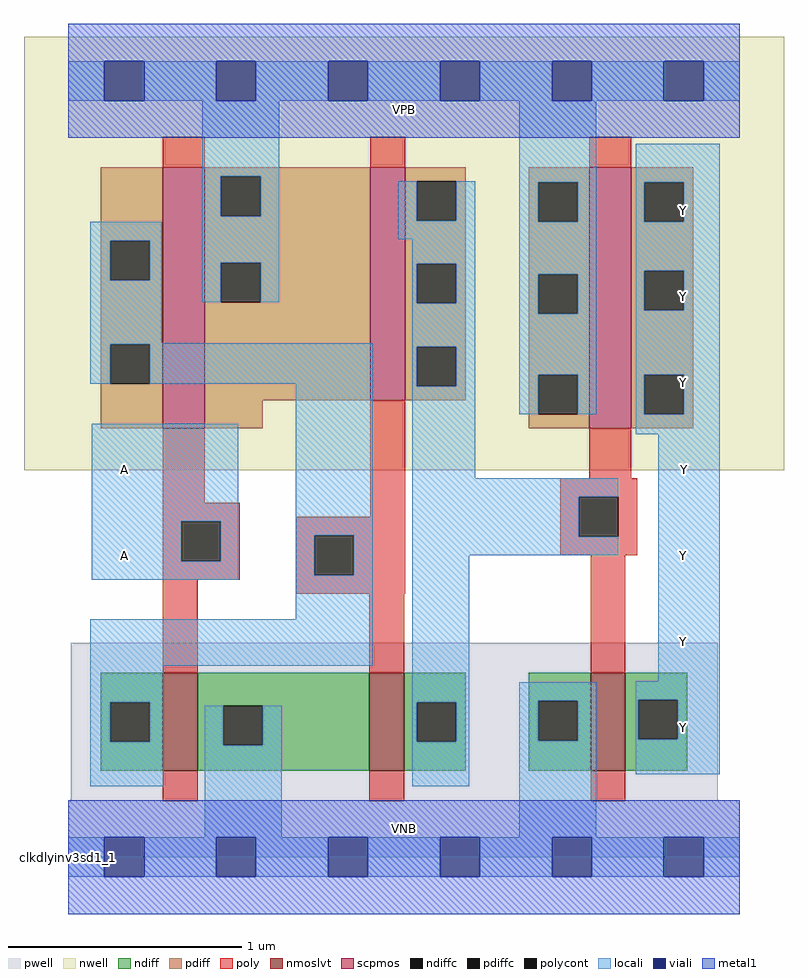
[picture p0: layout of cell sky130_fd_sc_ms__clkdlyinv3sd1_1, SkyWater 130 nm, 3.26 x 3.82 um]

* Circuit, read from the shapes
.subckt sky130_fd_sc_ms__clkdlyinv3sd1_1 A VGND VNB VPB VPWR Y
XM1 VGND A n1 VNB sky130_fd_pr__nfet_01v8_lvt w=0.42 l=0.15
XM2 n2 n1 VGND VNB sky130_fd_pr__nfet_01v8_lvt w=0.42 l=0.15
XM3 Y n2 VGND VNB sky130_fd_pr__nfet_01v8_lvt w=0.42 l=0.15
XM4 VPWR A n1 VPB sky130_fd_pr__pfet_01v8 w=1.12 l=0.18
XM5 n2 n1 VPWR VPB sky130_fd_pr__pfet_01v8 w=1 l=0.15
XM6 Y n2 VPWR VPB sky130_fd_pr__pfet_01v8 w=1.12 l=0.18
.ends

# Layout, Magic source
magic
tech sky130A
magscale 1 2
<< nwell >>
rect -38 332 614 704
<< pwell >>
rect 2 49 557 184
rect 0 0 576 49
<< scpmos >>
rect 81 368 117 592
rect 259 392 289 592
rect 447 368 483 592
<< nmoslvt >>
rect 81 74 111 158
rect 258 74 288 158
rect 448 74 478 158
<< ndiff >>
rect 28 133 81 158
rect 28 99 36 133
rect 70 99 81 133
rect 28 74 81 99
rect 111 130 258 158
rect 111 96 133 130
rect 167 96 258 130
rect 111 74 258 96
rect 288 133 341 158
rect 288 99 299 133
rect 333 99 341 133
rect 288 74 341 99
rect 395 134 448 158
rect 395 100 403 134
rect 437 100 448 134
rect 395 74 448 100
rect 478 135 531 158
rect 478 101 489 135
rect 523 101 531 135
rect 478 74 531 101
<< pdiff >>
rect 28 529 81 592
rect 28 495 36 529
rect 70 495 81 529
rect 28 440 81 495
rect 28 406 36 440
rect 70 406 81 440
rect 28 368 81 406
rect 117 584 259 592
rect 117 550 131 584
rect 165 550 259 584
rect 117 510 259 550
rect 117 476 131 510
rect 165 476 259 510
rect 117 392 259 476
rect 289 580 341 592
rect 289 546 299 580
rect 333 546 341 580
rect 289 509 341 546
rect 289 475 299 509
rect 333 475 341 509
rect 289 438 341 475
rect 289 404 299 438
rect 333 404 341 438
rect 289 392 341 404
rect 395 579 447 592
rect 395 545 403 579
rect 437 545 447 579
rect 395 500 447 545
rect 395 466 403 500
rect 437 466 447 500
rect 395 414 447 466
rect 117 368 167 392
rect 395 380 403 414
rect 437 380 447 414
rect 395 368 447 380
rect 483 579 536 592
rect 483 545 494 579
rect 528 545 536 579
rect 483 503 536 545
rect 483 469 494 503
rect 528 469 536 503
rect 483 414 536 469
rect 483 380 494 414
rect 528 380 536 414
rect 483 368 536 380
<< ndiffc >>
rect 36 99 70 133
rect 133 96 167 130
rect 299 99 333 133
rect 403 100 437 134
rect 489 101 523 135
<< pdiffc >>
rect 36 495 70 529
rect 36 406 70 440
rect 131 550 165 584
rect 131 476 165 510
rect 299 546 333 580
rect 299 475 333 509
rect 299 404 333 438
rect 403 545 437 579
rect 403 466 437 500
rect 403 380 437 414
rect 494 545 528 579
rect 494 469 528 503
rect 494 380 528 414
<< poly >>
rect 81 592 117 618
rect 259 592 289 618
rect 447 592 483 618
rect 81 304 117 368
rect 81 288 147 304
rect 259 292 289 392
rect 447 325 483 368
rect 81 254 97 288
rect 131 254 147 288
rect 81 238 147 254
rect 195 276 289 292
rect 195 242 211 276
rect 245 242 289 276
rect 422 309 488 325
rect 422 275 438 309
rect 472 275 488 309
rect 422 259 488 275
rect 81 158 111 238
rect 195 226 289 242
rect 258 158 288 226
rect 448 158 478 259
rect 81 48 111 74
rect 258 48 288 74
rect 448 48 478 74
<< polycont >>
rect 97 254 131 288
rect 211 242 245 276
rect 438 275 472 309
<< locali >>
rect 0 649 31 683
rect 65 649 127 683
rect 161 649 223 683
rect 257 649 319 683
rect 353 649 415 683
rect 449 649 511 683
rect 545 649 576 683
rect 115 584 181 649
rect 115 550 131 584
rect 165 550 181 584
rect 19 529 80 545
rect 19 495 36 529
rect 70 495 80 529
rect 19 441 80 495
rect 115 510 181 550
rect 283 546 299 580
rect 333 546 349 580
rect 283 530 349 546
rect 115 476 131 510
rect 165 476 181 510
rect 295 509 349 530
rect 295 475 299 509
rect 333 475 349 509
rect 19 440 261 441
rect 19 406 36 440
rect 70 406 261 440
rect 20 288 146 372
rect 20 254 97 288
rect 131 254 146 288
rect 20 238 146 254
rect 195 276 261 406
rect 195 242 211 276
rect 245 242 261 276
rect 195 204 261 242
rect 19 164 261 204
rect 295 438 349 475
rect 295 404 299 438
rect 333 404 349 438
rect 295 325 349 404
rect 387 579 453 649
rect 387 545 403 579
rect 437 545 453 579
rect 387 500 453 545
rect 387 466 403 500
rect 437 466 453 500
rect 387 414 453 466
rect 387 380 403 414
rect 437 380 453 414
rect 487 579 559 612
rect 487 545 494 579
rect 528 545 559 579
rect 487 503 559 545
rect 487 469 494 503
rect 528 469 559 503
rect 487 414 559 469
rect 487 380 494 414
rect 528 380 559 414
rect 487 363 559 380
rect 295 309 472 325
rect 295 275 438 309
rect 295 259 472 275
rect 19 133 82 164
rect 19 99 36 133
rect 70 99 82 133
rect 295 133 344 259
rect 506 151 559 363
rect 19 61 82 99
rect 117 96 133 130
rect 167 96 183 130
rect 117 17 183 96
rect 295 99 299 133
rect 333 99 344 133
rect 295 61 344 99
rect 387 134 453 150
rect 387 100 403 134
rect 437 100 453 134
rect 387 17 453 100
rect 487 135 559 151
rect 487 101 489 135
rect 523 101 559 135
rect 487 71 559 101
rect 0 -17 31 17
rect 65 -17 127 17
rect 161 -17 223 17
rect 257 -17 319 17
rect 353 -17 415 17
rect 449 -17 511 17
rect 545 -17 576 17
<< viali >>
rect 31 649 65 683
rect 127 649 161 683
rect 223 649 257 683
rect 319 649 353 683
rect 415 649 449 683
rect 511 649 545 683
rect 31 -17 65 17
rect 127 -17 161 17
rect 223 -17 257 17
rect 319 -17 353 17
rect 415 -17 449 17
rect 511 -17 545 17
<< metal1 >>
rect 0 683 576 715
rect 0 649 31 683
rect 65 649 127 683
rect 161 649 223 683
rect 257 649 319 683
rect 353 649 415 683
rect 449 649 511 683
rect 545 649 576 683
rect 0 617 576 649
rect 0 17 576 49
rect 0 -17 31 17
rect 65 -17 127 17
rect 161 -17 223 17
rect 257 -17 319 17
rect 353 -17 415 17
rect 449 -17 511 17
rect 545 -17 576 17
rect 0 -49 576 -17
<< labels >>
rlabel comment s 0 0 0 0 4 clkdlyinv3sd1_1
flabel pwell s 0 0 576 49 0 FreeSans 200 0 0 0 VNB
port 3 nsew ground bidirectional
flabel nwell s 0 617 576 666 0 FreeSans 200 0 0 0 VPB
port 4 nsew power bidirectional
flabel metal1 s 0 0 576 49 0 FreeSans 340 0 0 0 VGND
port 2 nsew ground bidirectional
flabel metal1 s 0 617 576 666 0 FreeSans 340 0 0 0 VPWR
port 5 nsew power bidirectional
flabel locali s 31 242 65 276 0 FreeSans 340 0 0 0 A
port 1 nsew signal input
flabel locali s 31 316 65 350 0 FreeSans 340 0 0 0 A
port 1 nsew signal input
flabel locali s 512 316 546 350 0 FreeSans 200 0 0 0 Y
port 6 nsew signal output
flabel locali s 511 464 545 498 0 FreeSans 200 0 0 0 Y
port 6 nsew signal output
flabel locali s 511 390 545 424 0 FreeSans 200 0 0 0 Y
port 6 nsew signal output
flabel locali s 511 168 545 202 0 FreeSans 200 0 0 0 Y
port 6 nsew signal output
flabel locali s 511 94 545 128 0 FreeSans 200 0 0 0 Y
port 6 nsew signal output
flabel locali s 511 242 545 276 0 FreeSans 200 0 0 0 Y
port 6 nsew signal output
flabel locali s 511 538 545 572 0 FreeSans 200 0 0 0 Y
port 6 nsew signal output
<< properties >>
string LEFsite unit
string LEFclass CORE
string FIXED_BBOX 0 0 576 666
string GDS_FILE $PDKPATH/libs.ref/sky130_fd_sc_ms/gds/sky130_fd_sc_ms.gds
string LEFsymmetry X Y
string GDS_END 2636294
string GDS_START 2630546
<< end >>
